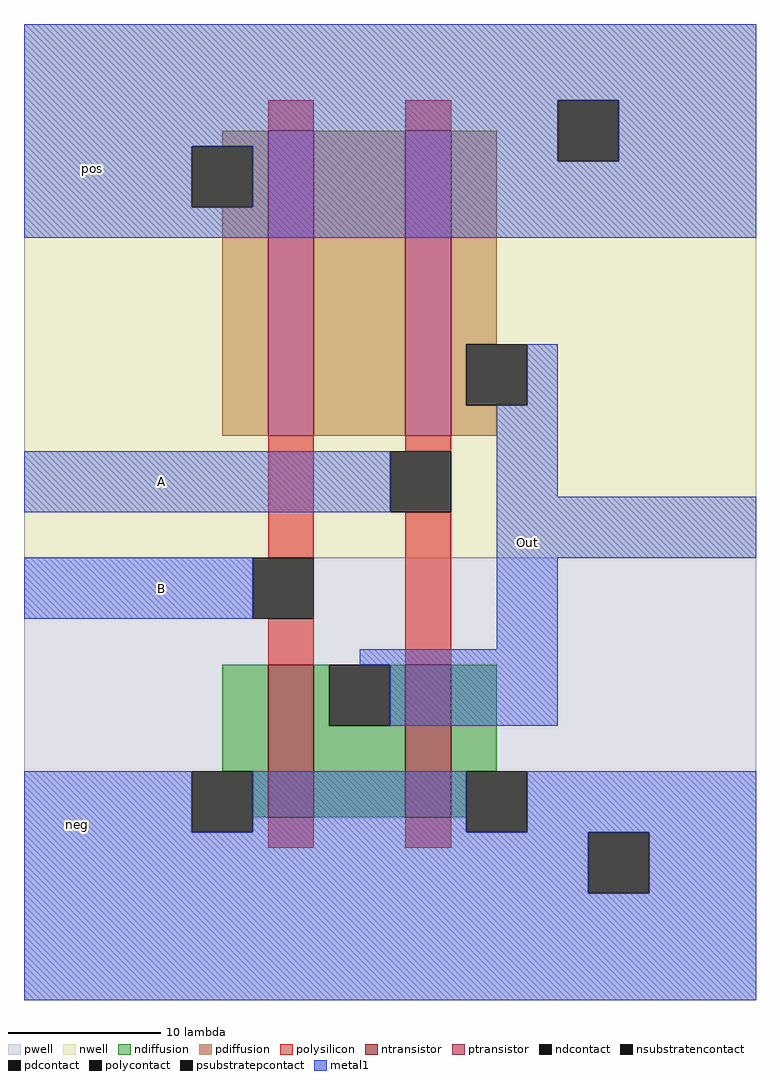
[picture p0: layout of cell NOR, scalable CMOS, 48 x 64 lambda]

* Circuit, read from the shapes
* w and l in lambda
.subckt NOR A B Out neg pos
M1 Out B neg neg nfet w=10 l=3
M2 neg A Out neg nfet w=10 l=3
M3 n1 B pos pos pfet w=20 l=3
M4 Out A n1 pos pfet w=20 l=3
.ends

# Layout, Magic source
magic
tech scmos
<< nwell >>
rect -14 7 34 42
<< pwell >>
rect -14 -22 34 7
<< ntransistor >>
rect 2 -10 5 0
rect 11 -10 14 0
<< ptransistor >>
rect 2 15 5 35
rect 11 15 14 35
<< ndiffusion >>
rect -1 -7 2 0
rect 1 -10 2 -7
rect 5 -4 6 0
rect 10 -4 11 0
rect 5 -10 11 -4
rect 14 -7 17 0
rect 14 -10 15 -7
<< pdiffusion >>
rect -1 34 2 35
rect 1 30 2 34
rect -1 15 2 30
rect 5 15 11 35
rect 14 21 17 35
rect 14 17 15 21
rect 14 15 17 17
<< ndcontact >>
rect -3 -11 1 -7
rect 6 -4 10 0
rect 15 -11 19 -7
<< pdcontact >>
rect -3 30 1 34
rect 15 17 19 21
<< psubstratepcontact >>
rect 23 -15 27 -11
<< nsubstratencontact >>
rect 21 33 25 37
<< polysilicon >>
rect 2 35 5 37
rect 11 35 14 37
rect 2 7 5 15
rect 11 14 14 15
rect 2 0 5 3
rect 11 0 14 10
rect 2 -12 5 -10
rect 11 -12 14 -10
<< polycontact >>
rect 10 10 14 14
rect 1 3 5 7
<< metal1 >>
rect -14 37 34 42
rect -14 34 21 37
rect -14 30 -3 34
rect 1 33 21 34
rect 25 33 34 37
rect 1 30 34 33
rect -14 28 34 30
rect 19 17 21 21
rect -14 10 10 14
rect 17 11 21 17
rect 17 7 34 11
rect -14 3 1 7
rect 17 1 21 7
rect 8 0 21 1
rect 10 -4 21 0
rect -14 -11 -3 -7
rect 1 -11 15 -7
rect 19 -11 34 -7
rect -14 -15 23 -11
rect 27 -15 34 -11
rect -14 -22 34 -15
<< labels >>
rlabel metal1 -5 12 -5 12 3 A
rlabel metal1 -5 5 -5 5 3 B
rlabel metal1 19 8 19 8 7 Out
rlabel metal1 -10 32 -9 33 3 pos
rlabel metal1 -11 -11 -10 -10 3 neg
<< end >>
